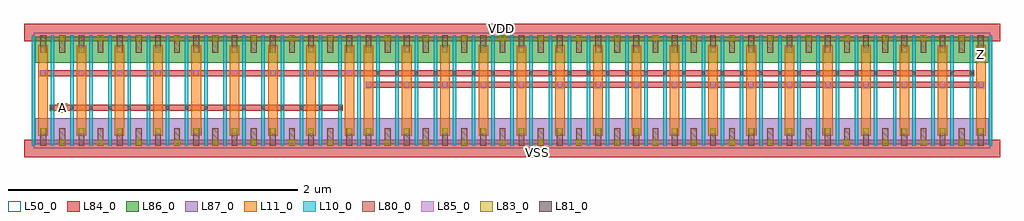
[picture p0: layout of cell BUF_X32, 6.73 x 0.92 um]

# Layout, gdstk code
import gdstk
lib = gdstk.Library(unit=1e-6, precision=1e-09)
def R(c, l, rs):  # rectangles x0, y0, x1, y1
    for r in rs: c.add(gdstk.rectangle(r[:2], r[2:], *l))
def A(c, l, x, y, w, h, nx, ny, dx, dy):  # array of equal rectangles
    R(c, l, [(x+i*dx, y+j*dy, x+i*dx+w, y+j*dy+h) for i in range(nx) for j in range(ny)])
L10_0 = (10, 0)
L11_0 = (11, 0)
L50_0 = (50, 0)
L80_0 = (80, 0)
L81_0 = (81, 0)
L83_0 = (83, 0)
L84_0 = (84, 0)
L85_0 = (85, 0)
L86_0 = (86, 0)
L87_0 = (87, 0)

buf_x32 = lib.new_cell('BUF_X32')
A(buf_x32, L10_0, -0.094, 0.138, 0.024, 0.76, 5, 1, 0.132, 0)
A(buf_x32, L10_0, 0.566, 0.138, 0.024, 0.76, 5, 1, 0.132, 0)
A(buf_x32, L10_0, 1.094, 0.138, 0.024, 0.76, 4, 1, 0.132, 0)
A(buf_x32, L10_0, 1.622, 0.138, 0.024, 0.76, 5, 1, 0.132, 0)
A(buf_x32, L10_0, 2.282, 0.138, 0.024, 0.76, 4, 1, 0.132, 0)
A(buf_x32, L10_0, 2.81, 0.138, 0.024, 0.76, 4, 1, 0.132, 0)
A(buf_x32, L10_0, 3.338, 0.138, 0.024, 0.76, 4, 1, 0.132, 0)
A(buf_x32, L10_0, 3.866, 0.138, 0.024, 0.76, 4, 1, 0.132, 0)
A(buf_x32, L10_0, 4.394, 0.138, 0.024, 0.76, 4, 1, 0.132, 0)
A(buf_x32, L10_0, 4.922, 0.138, 0.024, 0.76, 4, 1, 0.132, 0)
A(buf_x32, L10_0, 5.45, 0.138, 0.024, 0.76, 4, 1, 0.132, 0)
A(buf_x32, L10_0, 5.978, 0.138, 0.024, 0.76, 5, 1, 0.132, 0)
R(buf_x32, L10_0, [(0.434,0.138,0.458,0.898), (0.566,0.138,0.59,0.898), (1.094,0.138,1.118,0.898), (1.49,0.138,1.514,0.898), (1.622,0.138,1.646,0.898), (2.15,0.138,2.174,0.898), (2.282,0.138,2.306,0.898), (2.678,0.138,2.702,0.898), (2.81,0.138,2.834,0.898), (3.206,0.138,3.23,0.898), (3.338,0.138,3.362,0.898), (3.734,0.138,3.758,0.898), (3.866,0.138,3.89,0.898), (4.262,0.138,4.286,0.898), (4.262,0.138,4.286,0.898), (4.394,0.138,4.418,0.898), (4.394,0.138,4.418,0.898), (4.79,0.138,4.814,0.898), (4.922,0.138,4.946,0.898), (5.318,0.138,5.342,0.898), (5.45,0.138,5.474,0.898), (5.846,0.138,5.87,0.898), (5.978,0.138,6.002,0.898)])
A(buf_x32, L11_0, -0.049, 0.205, 0.066, 0.626, 3, 1, 0.264, 0)
A(buf_x32, L11_0, 0.479, 0.205, 0.066, 0.626, 3, 1, 0.264, 0)
A(buf_x32, L11_0, 1.007, 0.205, 0.066, 0.626, 3, 1, 0.264, 0)
A(buf_x32, L11_0, 1.535, 0.205, 0.066, 0.626, 3, 1, 0.264, 0)
A(buf_x32, L11_0, 2.195, 0.205, 0.066, 0.626, 3, 1, 0.264, 0)
A(buf_x32, L11_0, 2.723, 0.205, 0.066, 0.626, 3, 1, 0.264, 0)
A(buf_x32, L11_0, 3.251, 0.205, 0.066, 0.626, 3, 1, 0.264, 0)
A(buf_x32, L11_0, 3.779, 0.205, 0.066, 0.626, 3, 1, 0.264, 0)
A(buf_x32, L11_0, 4.307, 0.205, 0.066, 0.626, 3, 1, 0.264, 0)
A(buf_x32, L11_0, 4.835, 0.205, 0.066, 0.626, 3, 1, 0.264, 0)
A(buf_x32, L11_0, 5.363, 0.205, 0.066, 0.626, 3, 1, 0.264, 0)
A(buf_x32, L11_0, 5.891, 0.205, 0.066, 0.626, 3, 1, 0.264, 0)
R(buf_x32, L11_0, [(0.083,0.365,0.149,0.431)])
R(buf_x32, L50_0, [(-0.082,0.118,6.518,0.918)])
A(buf_x32, L80_0, -0.036, 0.138, 0.04, 0.12, 5, 2, 0.132, 0.64)
A(buf_x32, L80_0, 0.492, 0.138, 0.04, 0.12, 5, 2, 0.132, 0.64)
A(buf_x32, L80_0, 1.02, 0.138, 0.04, 0.12, 5, 2, 0.132, 0.64)
A(buf_x32, L80_0, 1.548, 0.138, 0.04, 0.12, 10, 2, 0.132, 0.64)
A(buf_x32, L80_0, 2.736, 0.138, 0.04, 0.12, 5, 2, 0.132, 0.64)
A(buf_x32, L80_0, 3.264, 0.138, 0.04, 0.12, 5, 2, 0.132, 0.64)
A(buf_x32, L80_0, 3.792, 0.138, 0.04, 0.12, 5, 2, 0.132, 0.64)
A(buf_x32, L80_0, 4.32, 0.138, 0.04, 0.12, 5, 2, 0.132, 0.64)
A(buf_x32, L80_0, 4.848, 0.138, 0.04, 0.12, 5, 2, 0.132, 0.64)
A(buf_x32, L80_0, 5.376, 0.138, 0.04, 0.12, 5, 2, 0.132, 0.64)
A(buf_x32, L80_0, 5.904, 0.138, 0.04, 0.12, 5, 2, 0.132, 0.64)
A(buf_x32, L81_0, 0.039, 0.387, 0.022, 0.022, 16, 1, 0.132, 0)
A(buf_x32, L81_0, 2.283, 0.627, 0.022, 0.022, 32, 1, 0.132, 0)
A(buf_x32, L83_0, 0.098, 0.14, 0.036, 0.036, 8, 2, 0.264, 0.72)
A(buf_x32, L83_0, 2.342, 0.14, 0.036, 0.036, 16, 2, 0.264, 0.72)
A(buf_x32, L83_0, -0.034, 0.22, 0.036, 0.036, 3, 2, 0.264, 0.56)
A(buf_x32, L83_0, 0.494, 0.22, 0.036, 0.036, 3, 2, 0.264, 0.56)
A(buf_x32, L83_0, 1.022, 0.22, 0.036, 0.036, 3, 2, 0.264, 0.56)
A(buf_x32, L83_0, 1.55, 0.22, 0.036, 0.036, 3, 2, 0.264, 0.56)
A(buf_x32, L83_0, 2.21, 0.22, 0.036, 0.036, 3, 2, 0.264, 0.56)
A(buf_x32, L83_0, 2.738, 0.22, 0.036, 0.036, 3, 2, 0.264, 0.56)
A(buf_x32, L83_0, 3.266, 0.22, 0.036, 0.036, 3, 2, 0.264, 0.56)
A(buf_x32, L83_0, 3.794, 0.22, 0.036, 0.036, 3, 2, 0.264, 0.56)
A(buf_x32, L83_0, 4.322, 0.22, 0.036, 0.036, 3, 2, 0.264, 0.56)
A(buf_x32, L83_0, 4.85, 0.22, 0.036, 0.036, 3, 2, 0.264, 0.56)
A(buf_x32, L83_0, 5.378, 0.22, 0.036, 0.036, 3, 2, 0.264, 0.56)
A(buf_x32, L83_0, 5.906, 0.22, 0.036, 0.036, 3, 2, 0.264, 0.56)
A(buf_x32, L84_0, -0.036, 0.218, 0.04, 0.04, 3, 2, 0.264, 0.56)
A(buf_x32, L84_0, 0.492, 0.218, 0.04, 0.04, 3, 2, 0.264, 0.56)
A(buf_x32, L84_0, 1.02, 0.218, 0.04, 0.04, 3, 2, 0.264, 0.56)
A(buf_x32, L84_0, 1.548, 0.218, 0.04, 0.04, 3, 2, 0.264, 0.56)
A(buf_x32, L84_0, 2.208, 0.218, 0.04, 0.04, 3, 2, 0.264, 0.56)
A(buf_x32, L84_0, 2.736, 0.218, 0.04, 0.04, 3, 2, 0.264, 0.56)
A(buf_x32, L84_0, 3.264, 0.218, 0.04, 0.04, 3, 2, 0.264, 0.56)
A(buf_x32, L84_0, 3.792, 0.218, 0.04, 0.04, 3, 2, 0.264, 0.56)
A(buf_x32, L84_0, 4.32, 0.218, 0.04, 0.04, 3, 2, 0.264, 0.56)
A(buf_x32, L84_0, 4.848, 0.218, 0.04, 0.04, 3, 2, 0.264, 0.56)
A(buf_x32, L84_0, 5.376, 0.218, 0.04, 0.04, 3, 2, 0.264, 0.56)
A(buf_x32, L84_0, 5.904, 0.218, 0.04, 0.04, 3, 2, 0.264, 0.56)
A(buf_x32, L84_0, 2.208, 0.538, 0.568, 0.04, 8, 1, 0.528, 0)
R(buf_x32, L84_0, [(-0.148,0.058,6.584,0.178), (0.03,0.378,0.4,0.418), (0.329,0.378,0.994,0.418), (0.83,0.378,1.456,0.418), (1.385,0.378,2.05,0.418), (-0.036,0.618,0.532,0.658), (0.492,0.618,1.226,0.658), (1.02,0.618,2.116,0.658), (1.91,0.618,2.644,0.658), (2.573,0.618,3.238,0.658), (3.218,0.618,3.7,0.658), (3.629,0.618,4.79,0.658), (4.685,0.618,5.35,0.658), (5.33,0.618,5.812,0.658), (5.741,0.618,6.406,0.658), (-0.148,0.858,6.584,0.978)])
A(buf_x32, L85_0, -0.035, 0.219, 0.038, 0.038, 3, 2, 0.264, 0.4)
A(buf_x32, L85_0, 0.493, 0.219, 0.038, 0.038, 3, 2, 0.264, 0.4)
A(buf_x32, L85_0, 1.021, 0.219, 0.038, 0.038, 3, 2, 0.264, 0.4)
A(buf_x32, L85_0, 1.549, 0.219, 0.038, 0.038, 3, 2, 0.264, 0.4)
A(buf_x32, L85_0, 2.209, 0.219, 0.038, 0.038, 3, 2, 0.264, 0.32)
A(buf_x32, L85_0, 2.737, 0.219, 0.038, 0.038, 3, 2, 0.264, 0.32)
A(buf_x32, L85_0, 3.265, 0.219, 0.038, 0.038, 3, 2, 0.264, 0.32)
A(buf_x32, L85_0, 3.793, 0.219, 0.038, 0.038, 3, 2, 0.264, 0.32)
A(buf_x32, L85_0, 4.321, 0.219, 0.038, 0.038, 3, 2, 0.264, 0.32)
A(buf_x32, L85_0, 4.849, 0.219, 0.038, 0.038, 3, 2, 0.264, 0.32)
A(buf_x32, L85_0, 5.377, 0.219, 0.038, 0.038, 3, 2, 0.264, 0.32)
A(buf_x32, L85_0, 5.905, 0.219, 0.038, 0.038, 3, 2, 0.264, 0.32)
A(buf_x32, L85_0, -0.035, 0.779, 0.038, 0.038, 3, 1, 0.264, 0)
A(buf_x32, L85_0, 0.493, 0.779, 0.038, 0.038, 3, 1, 0.264, 0)
A(buf_x32, L85_0, 1.021, 0.779, 0.038, 0.038, 3, 1, 0.264, 0)
A(buf_x32, L85_0, 1.549, 0.779, 0.038, 0.038, 3, 1, 0.264, 0)
A(buf_x32, L85_0, 2.209, 0.779, 0.038, 0.038, 3, 1, 0.264, 0)
A(buf_x32, L85_0, 2.737, 0.779, 0.038, 0.038, 3, 1, 0.264, 0)
A(buf_x32, L85_0, 3.265, 0.779, 0.038, 0.038, 3, 1, 0.264, 0)
A(buf_x32, L85_0, 3.793, 0.779, 0.038, 0.038, 3, 1, 0.264, 0)
A(buf_x32, L85_0, 4.321, 0.779, 0.038, 0.038, 3, 1, 0.264, 0)
A(buf_x32, L85_0, 4.849, 0.779, 0.038, 0.038, 3, 1, 0.264, 0)
A(buf_x32, L85_0, 5.377, 0.779, 0.038, 0.038, 3, 1, 0.264, 0)
A(buf_x32, L85_0, 5.905, 0.779, 0.038, 0.038, 3, 1, 0.264, 0)
R(buf_x32, L85_0, [(0.097,0.379,0.135,0.417)])
A(buf_x32, L86_0, 2.174, 0.71, 0.636, 0.18, 8, 1, 0.528, 0)
R(buf_x32, L86_0, [(-0.07,0.71,0.566,0.89), (0.458,0.71,6.506,0.89), (0.986,0.71,1.622,0.89)])
A(buf_x32, L87_0, 2.174, 0.146, 0.636, 0.18, 8, 1, 0.528, 0)
R(buf_x32, L87_0, [(-0.07,0.146,0.566,0.326), (0.458,0.146,6.506,0.326), (0.986,0.146,1.622,0.326)])
buf_x32.add(gdstk.Label('Z', (6.452,0.763), layer=31, texttype=0))
buf_x32.add(gdstk.Label('A', (0.116,0.398), layer=31, texttype=0))
buf_x32.add(gdstk.Label('VDD', (3.143,0.944), layer=88, texttype=0))
buf_x32.add(gdstk.Label('VSS', (3.393,0.092), layer=88, texttype=0))

lib.write_gds('BUF_X32.gds')
